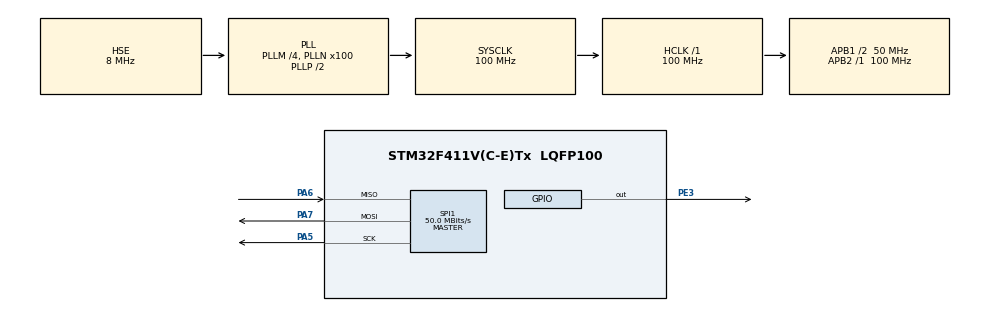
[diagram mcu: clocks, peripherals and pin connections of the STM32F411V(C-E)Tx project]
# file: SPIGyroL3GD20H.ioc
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Mcu.Family=STM32F4
Mcu.Name=STM32F411V(C-E)Tx
Mcu.Package=LQFP100
NVIC.PriorityGroup=NVIC_PRIORITYGROUP_4
PA5.Mode=Full_Duplex_Master
PA5.Signal=SPI1_SCK
PA6.Mode=Full_Duplex_Master
PA6.Signal=SPI1_MISO
PA7.Mode=Full_Duplex_Master
PA7.Signal=SPI1_MOSI
PE3.Signal=GPIO_Output
PH0\ -\ OSC_IN.Mode=HSE-External-Oscillator
PH0\ -\ OSC_IN.Signal=RCC_OSC_IN
PH1\ -\ OSC_OUT.Mode=HSE-External-Oscillator
PH1\ -\ OSC_OUT.Signal=RCC_OSC_OUT
ProjectManager.HeapSize=0x200
ProjectManager.StackSize=0x400
ProjectManager.TargetToolchain=MDK-ARM V5
RCC.48MHZClocksFreq_Value=50000000
RCC.AHBFreq_Value=100000000
RCC.APB1CLKDivider=RCC_HCLK_DIV2
RCC.APB1Freq_Value=50000000
RCC.APB1TimFreq_Value=100000000
RCC.APB2Freq_Value=100000000
RCC.APB2TimFreq_Value=100000000
RCC.CortexFreq_Value=100000000
RCC.HCLKFreq_Value=100000000
RCC.HSE_VALUE=8000000
RCC.HSI_VALUE=16000000
RCC.LSE_VALUE=32768
RCC.PLLM=4
RCC.PLLN=100
RCC.PLLSourceVirtual=RCC_PLLSOURCE_HSE
RCC.SYSCLKFreq_VALUE=100000000
RCC.SYSCLKSource=RCC_SYSCLKSOURCE_PLLCLK
RCC.VCOOutputFreq_Value=200000000
SPI1.CalculateBaudRate=50.0 MBits/s
SPI1.Direction=SPI_DIRECTION_2LINES
SPI1.Mode=SPI_MODE_MASTER
SPI1.VirtualType=VM_MASTER
board=custom

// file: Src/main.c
/* USER CODE BEGIN Header */
/**
  ******************************************************************************
  * @file           : main.c
  * @brief          : Main program body
  ******************************************************************************
  * @attention
  *
  * <h2><center>&copy; Copyright (c) 2019 STMicroelectronics.
  * All rights reserved.</center></h2>
  *
  * This software component is licensed by ST under BSD 3-Clause license,
  * the "License"; You may not use this file except in compliance with the
  * License. You may obtain a copy of the License at:
  *                        opensource.org/licenses/BSD-3-Clause
  *
  ******************************************************************************
  */
/* USER CODE END Header */

#include "main.h"

/* USER CODE BEGIN PD */
#define WHO_AM_I_ADD_REG 0x0F
#define WHO_AM_I_VAL_REG 0xD7
#define CTRL1_ADD_REG 0x20
#define CTRL1_VAL_REG 0xFF
#define CTRL4_ADD_REG 0x23
#define CTRL4_VAL_REG 0x10
#define OUT_X_L_ADD_REG 0x28
#define OUT_X_H_ADD_REG 0x29
#define OUT_Y_L_ADD_REG 0x2A
#define OUT_Y_H_ADD_REG 0x2B
#define OUT_Z_L_ADD_REG 0x2C
#define OUT_Z_H_ADD_REG 0x2D

/* USER CODE END PD */

SPI_HandleTypeDef hspi1;

/* USER CODE BEGIN PV */
int16_t intX, intY, intZ;
float x, y, z;
int8_t temp;
/* USER CODE END PV */

void SystemClock_Config(void);
static void MX_GPIO_Init(void);
static void MX_SPI1_Init(void);

/* USER CODE BEGIN 0 */
static void L2GD20_WriteReg(uint8_t reg, uint8_t data)
{
	HAL_GPIO_WritePin(GPIOE, GPIO_PIN_3, GPIO_PIN_RESET);
	HAL_SPI_Transmit(&hspi1, &reg, 1, 100);
	HAL_SPI_Transmit(&hspi1, &data, 1, 100);
	HAL_GPIO_WritePin(GPIOE, GPIO_PIN_3, GPIO_PIN_SET);
}
static uint8_t L3GD20_ReadReg(uint8_t reg)
{
	uint8_t regValue;
	HAL_GPIO_WritePin(GPIOE, GPIO_PIN_3, GPIO_PIN_RESET);
	reg = reg | 0x80;
	HAL_SPI_Transmit(&hspi1, &reg, 1, 100);
	HAL_SPI_Receive(&hspi1, &regValue, 1, 100);
	HAL_GPIO_WritePin(GPIOE, GPIO_PIN_3, GPIO_PIN_SET);
	return regValue;
}
static void L3GD20_Init(void)
{
	if(L3GD20_ReadReg(WHO_AM_I_ADD_REG) != WHO_AM_I_VAL_REG)
	{
	}
	L2GD20_WriteReg(CTRL1_ADD_REG, CTRL1_VAL_REG);
	L2GD20_WriteReg(CTRL4_ADD_REG, CTRL4_VAL_REG); // Set FS = 500 dps

}
/* USER CODE END 0 */

int main(void)
{

  /* MCU Configuration--------------------------------------------------------*/

  /* Reset of all peripherals, Initializes the Flash interface and the Systick. */
  HAL_Init();

  /* Configure the system clock */
  SystemClock_Config();

  /* Initialize all configured peripherals */
  MX_GPIO_Init();
  MX_SPI1_Init();
  /* USER CODE BEGIN 2 */
		L3GD20_Init();
  /* USER CODE END 2 */

  /* Infinite loop */
  while (1)
  {

    /* USER CODE BEGIN 3 */
		intX = (int16_t) (L3GD20_ReadReg(OUT_X_H_ADD_REG) <<8 | L3GD20_ReadReg(OUT_X_L_ADD_REG));
		intY = (int16_t) (L3GD20_ReadReg(OUT_Y_H_ADD_REG) <<8 | L3GD20_ReadReg(OUT_Y_L_ADD_REG));
		intZ = (int16_t) (L3GD20_ReadReg(OUT_Z_H_ADD_REG) <<8 | L3GD20_ReadReg(OUT_Z_L_ADD_REG));
		x = (float) (intX * 17.5 * 0.001);
		y = (float) (intY * 17.5 * 0.001);
		z = (float) (intZ * 17.5 * 0.001);
		temp = (int8_t) L3GD20_ReadReg(0x26);
		HAL_Delay(500);
	}
  /* USER CODE END 3 */
}

void SystemClock_Config(void)
{
  RCC_OscInitTypeDef RCC_OscInitStruct = {0};
  RCC_ClkInitTypeDef RCC_ClkInitStruct = {0};

  /** Configure the main internal regulator output voltage
  */
  __HAL_RCC_PWR_CLK_ENABLE();
  __HAL_PWR_VOLTAGESCALING_CONFIG(PWR_REGULATOR_VOLTAGE_SCALE1);
  /** Initializes the CPU, AHB and APB busses clocks
  */
  RCC_OscInitStruct.OscillatorType = RCC_OSCILLATORTYPE_HSE;
  RCC_OscInitStruct.HSEState = RCC_HSE_ON;
  RCC_OscInitStruct.PLL.PLLState = RCC_PLL_ON;
  RCC_OscInitStruct.PLL.PLLSource = RCC_PLLSOURCE_HSE;
  RCC_OscInitStruct.PLL.PLLM = 4;
  RCC_OscInitStruct.PLL.PLLN = 100;
  RCC_OscInitStruct.PLL.PLLP = RCC_PLLP_DIV2;
  RCC_OscInitStruct.PLL.PLLQ = 4;
  if (HAL_RCC_OscConfig(&RCC_OscInitStruct) != HAL_OK)
  {
    Error_Handler();
  }
  /** Initializes the CPU, AHB and APB busses clocks
  */
  RCC_ClkInitStruct.ClockType = RCC_CLOCKTYPE_HCLK|RCC_CLOCKTYPE_SYSCLK
                              |RCC_CLOCKTYPE_PCLK1|RCC_CLOCKTYPE_PCLK2;
  RCC_ClkInitStruct.SYSCLKSource = RCC_SYSCLKSOURCE_PLLCLK;
  RCC_ClkInitStruct.AHBCLKDivider = RCC_SYSCLK_DIV1;
  RCC_ClkInitStruct.APB1CLKDivider = RCC_HCLK_DIV2;
  RCC_ClkInitStruct.APB2CLKDivider = RCC_HCLK_DIV1;

  if (HAL_RCC_ClockConfig(&RCC_ClkInitStruct, FLASH_LATENCY_3) != HAL_OK)
  {
    Error_Handler();
  }
}

static void MX_SPI1_Init(void)
{

  /* SPI1 parameter configuration*/
  hspi1.Instance = SPI1;
  hspi1.Init.Mode = SPI_MODE_MASTER;
  hspi1.Init.Direction = SPI_DIRECTION_2LINES;
  hspi1.Init.DataSize = SPI_DATASIZE_8BIT;
  hspi1.Init.CLKPolarity = SPI_POLARITY_LOW;
  hspi1.Init.CLKPhase = SPI_PHASE_1EDGE;
  hspi1.Init.NSS = SPI_NSS_SOFT;
  hspi1.Init.BaudRatePrescaler = SPI_BAUDRATEPRESCALER_2;
  hspi1.Init.FirstBit = SPI_FIRSTBIT_MSB;
  hspi1.Init.TIMode = SPI_TIMODE_DISABLE;
  hspi1.Init.CRCCalculation = SPI_CRCCALCULATION_DISABLE;
  hspi1.Init.CRCPolynomial = 10;
  if (HAL_SPI_Init(&hspi1) != HAL_OK)
  {
    Error_Handler();
  }

}

static void MX_GPIO_Init(void)
{
  GPIO_InitTypeDef GPIO_InitStruct = {0};

  /* GPIO Ports Clock Enable */
  __HAL_RCC_GPIOE_CLK_ENABLE();
  __HAL_RCC_GPIOH_CLK_ENABLE();
  __HAL_RCC_GPIOA_CLK_ENABLE();

  /*Configure GPIO pin Output Level */
  HAL_GPIO_WritePin(GPIOE, GPIO_PIN_3, GPIO_PIN_RESET);

  /*Configure GPIO pin : PE3 */
  GPIO_InitStruct.Pin = GPIO_PIN_3;
  GPIO_InitStruct.Mode = GPIO_MODE_OUTPUT_PP;
  GPIO_InitStruct.Pull = GPIO_NOPULL;
  GPIO_InitStruct.Speed = GPIO_SPEED_FREQ_LOW;
  HAL_GPIO_Init(GPIOE, &GPIO_InitStruct);

}

void Error_Handler(void)
{
}

/************************ (C) COPYRIGHT STMicroelectronics *****END OF FILE****/
